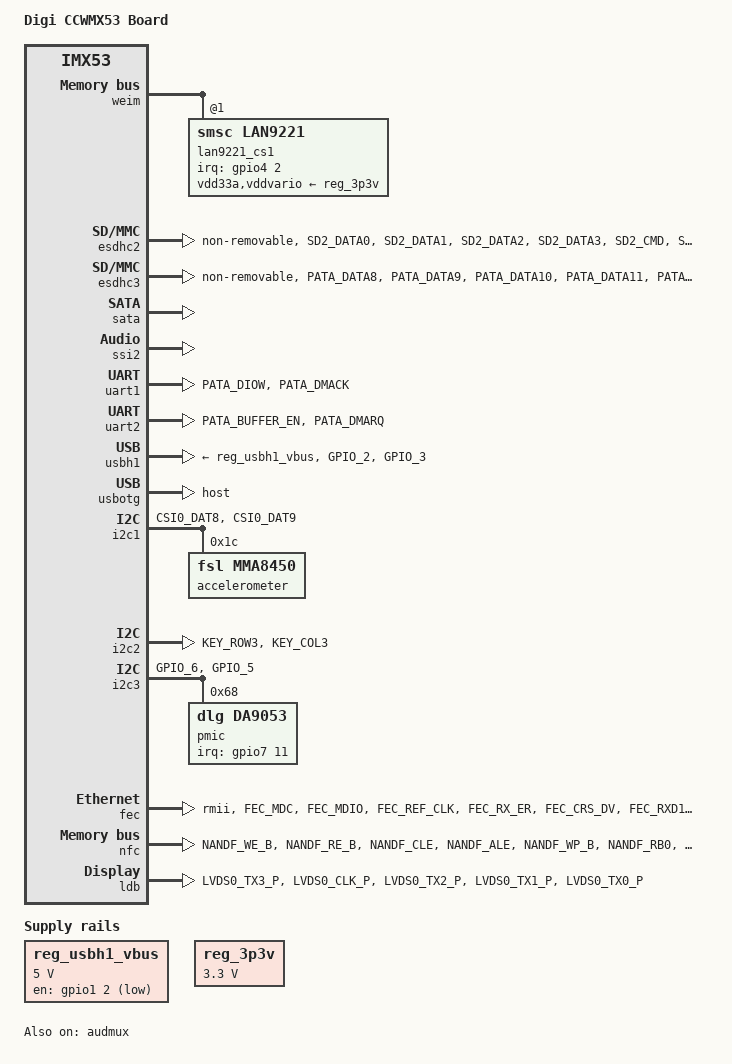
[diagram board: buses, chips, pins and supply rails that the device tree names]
/*
 * Copyright 2011 Freescale Semiconductor, Inc.
 * Copyright 2011 Linaro Ltd.
 *
 * The code contained herein is licensed under the GNU General Public
 * License. You may obtain a copy of the GNU General Public License
 * Version 2 or later at the following locations:
 *
 * http://www.opensource.org/licenses/gpl-license.html
 * http://www.gnu.org/copyleft/gpl.html
 */

/dts-v1/;
#include "imx53.dtsi"

/ {
	model = "Digi CCWMX53 Board";
	compatible = "fsl,imx53-ccxmx53", "fsl,imx53";

	memory {
		reg = <0x0 0x0>;	//reg = <0x70000000 0x40000000>;
	};
	
	regulators {
	compatible = "simple-bus";
	#address-cells = <1>;
	#size-cells = <0>;

		reg_usbh1_vbus: regulator@3 {
			compatible = "regulator-fixed";
			reg = <3>;
			regulator-name = "vbus";
			regulator-min-microvolt = <5000000>;
			regulator-max-microvolt = <5000000>;
			gpio = <&gpio1 2 0>;
		};
		
		reg_3p3v: regulator@0 {
			compatible = "regulator-fixed";
			reg = <0>;
			regulator-name = "3P3V";
			regulator-min-microvolt = <3300000>;
			regulator-max-microvolt = <3300000>;
			regulator-always-on;
		};
	};

};

&weim {
	pinctrl-names = "default";
	#address-cells = <2>;
	#size-cells = <1>;
	ranges = <0 0 0xf2000000 0x04000000>,
			 <1 0 0xf4000000 0x04000000>;
	fsl,weim-cs-gpr = <&gpr>;	
	status = "okay";
	
	lan9221_cs0@0,0 {
		#address-cells = <1>;
		#size-cells = <1>;
		pinctrl-names = "default";
		compatible = "smsc,lan9221", "smsc,lan9115";
		reg = <0 0x00000000 0x02000000>;
		fsl,weim-cs-timing = <
			0x00420081 0x00000000
			0x32260000 0x00000000
			0x72080f00 0x00000000
		>;
		clocks = <&clks IMX5_CLK_DUMMY>;
		interrupt-parent = <&gpio4>;
		interrupts = <2 0x8>;
		phy-mode = "mii";
		reg-io-width = <2>;
		smsc,irq-push-pull;
		vdd33a-supply = <&reg_3p3v>;
		vddvario-supply = <&reg_3p3v>;
		status = "disabled";
	};
	
	lan9221_cs1@0,1 {
		#address-cells = <1>;
		#size-cells = <1>;
		pinctrl-names = "default";
		compatible = "smsc,lan9221", "smsc,lan9115";
		reg = <1 0x00000000 0x02000000>;
		fsl,weim-cs-timing = <
			0x00420081 0x00000000
			0x32260000 0x00000000
			0x72080f00 0x00000000
		>;
		clocks = <&clks IMX5_CLK_DUMMY>;
		interrupt-parent = <&gpio4>;
		interrupts = <2 0x8>;
		phy-mode = "mii";
		reg-io-width = <2>;
		smsc,irq-push-pull;
		vdd33a-supply = <&reg_3p3v>;
		vddvario-supply = <&reg_3p3v>;
	};
};

&esdhc2 {
	pinctrl-names = "default";
	pinctrl-0 = <&pinctrl_esdhc2>;
	non-removable;
	//cd-gpios = <&gpio1 1 GPIO_ACTIVE_LOW>;
	//wp-gpios = <&gpio1 9 GPIO_ACTIVE_HIGH>;
	status = "okay";
};

&esdhc3 {
	pinctrl-names = "default";
	pinctrl-0 = <&pinctrl_esdhc3>;
	non-removable;
	status = "okay";
};

&iomuxc {
	pinctrl-names = "default";
	pinctrl-0 = <&pinctrl_hog>;

	imx53-digi {
		pinctrl_hog: hoggrp {
			fsl,pins = <
				
				//SMSC LAN9220
				MX53_PAD_GPIO_12__GPIO4_2            0x000001d5
				MX53_PAD_EIM_EB3__GPIO2_31			 0x1d5
				MX53_PAD_EIM_D16__EMI_WEIM_D_16      0x000000A4
				MX53_PAD_EIM_D17__EMI_WEIM_D_17      0x000000A4
				MX53_PAD_EIM_D18__EMI_WEIM_D_18      0x000000A4
				MX53_PAD_EIM_D19__EMI_WEIM_D_19      0x000000A4
				MX53_PAD_EIM_D20__EMI_WEIM_D_20      0x000000A4
				MX53_PAD_EIM_D21__EMI_WEIM_D_21      0x000000A4
				MX53_PAD_EIM_D22__EMI_WEIM_D_22      0x000000A4
				MX53_PAD_EIM_D23__EMI_WEIM_D_23      0x000000A4
				MX53_PAD_EIM_D24__EMI_WEIM_D_24      0x000000A4
				MX53_PAD_EIM_D25__EMI_WEIM_D_25      0x000000A4
				MX53_PAD_EIM_D26__EMI_WEIM_D_26      0x000000A4
				MX53_PAD_EIM_D27__EMI_WEIM_D_27      0x000000A4
				MX53_PAD_EIM_D28__EMI_WEIM_D_28      0x000000A4
				MX53_PAD_EIM_D29__EMI_WEIM_D_29      0x000000A4
				MX53_PAD_EIM_D30__EMI_WEIM_D_30      0x000000A4
				MX53_PAD_EIM_D31__EMI_WEIM_D_31      0x000000A4
				MX53_PAD_EIM_DA0__EMI_NAND_WEIM_DA_0 0x000000A4
				MX53_PAD_EIM_DA1__EMI_NAND_WEIM_DA_1 0x000000A4
				MX53_PAD_EIM_DA2__EMI_NAND_WEIM_DA_2 0x000000A4
				MX53_PAD_EIM_DA3__EMI_NAND_WEIM_DA_3 0x000000A4
				MX53_PAD_EIM_DA4__EMI_NAND_WEIM_DA_4 0x000000A4
				MX53_PAD_EIM_DA5__EMI_NAND_WEIM_DA_5 0x000000A4
				MX53_PAD_EIM_DA6__EMI_NAND_WEIM_DA_6 0x000000A4
				MX53_PAD_EIM_OE__EMI_WEIM_OE	     0x000000A4
				MX53_PAD_EIM_RW__EMI_WEIM_RW	     0x000000A4
				MX53_PAD_EIM_CS1__EMI_WEIM_CS_1	     0x000000A4
			>;
		};

		pinctrl_usb: usbgrp {
			fsl,pins = <
				MX53_PAD_GPIO_2__GPIO1_2			0x80000000
				MX53_PAD_GPIO_3__USBOH3_USBH1_OC	0x80000000
			>;
		};
		
		pinctrl_esdhc2: esdhc2grp {
			fsl,pins = <
				MX53_PAD_SD2_DATA0__ESDHC2_DAT0		0x1d5
				MX53_PAD_SD2_DATA1__ESDHC2_DAT1		0x1d5
				MX53_PAD_SD2_DATA2__ESDHC2_DAT2		0x1d5
				MX53_PAD_SD2_DATA3__ESDHC2_DAT3		0x1d5
				MX53_PAD_SD2_CMD__ESDHC2_CMD		0x1d5
				MX53_PAD_SD2_CLK__ESDHC2_CLK		0x1d5
			>;
		};
		
		pinctrl_esdhc3: esdhc3grp {
			fsl,pins = <
				MX53_PAD_PATA_DATA8__ESDHC3_DAT0	0x1d5
				MX53_PAD_PATA_DATA9__ESDHC3_DAT1	0x1d5
				MX53_PAD_PATA_DATA10__ESDHC3_DAT2	0x1d5
				MX53_PAD_PATA_DATA11__ESDHC3_DAT3	0x1d5
				MX53_PAD_PATA_RESET_B__ESDHC3_CMD	0x1d5
				MX53_PAD_PATA_IORDY__ESDHC3_CLK		0x1d5
			>;
		};
		
		pinctrl_uart1: uart1grp {
			fsl,pins = <
				MX53_PAD_PATA_DIOW__UART1_TXD_MUX	0x1e4
				MX53_PAD_PATA_DMACK__UART1_RXD_MUX	0x1e4
			>;
		};
		
		pinctrl_uart2: uart2grp {
			fsl,pins = <
				MX53_PAD_PATA_BUFFER_EN__UART2_RXD_MUX	0x1e4
				MX53_PAD_PATA_DMARQ__UART2_TXD_MUX	0x1e4
			>;
		};
		
		pinctrl_lvds0: lvds0grp {
			fsl,pins = <
				MX53_PAD_LVDS0_TX3_P__LDB_LVDS0_TX3 0x80000000
				MX53_PAD_LVDS0_CLK_P__LDB_LVDS0_CLK 0x80000000
				MX53_PAD_LVDS0_TX2_P__LDB_LVDS0_TX2 0x80000000
				MX53_PAD_LVDS0_TX1_P__LDB_LVDS0_TX1 0x80000000
				MX53_PAD_LVDS0_TX0_P__LDB_LVDS0_TX0 0x80000000
			>;
		};
		
		pinctrl_fec: fecgrp {
			fsl,pins = <
				MX53_PAD_FEC_MDC__FEC_MDC			0x80000000
				MX53_PAD_FEC_MDIO__FEC_MDIO			0x80000000
				MX53_PAD_FEC_REF_CLK__FEC_TX_CLK	0x80000000
				MX53_PAD_FEC_RX_ER__FEC_RX_ER		0x80000000
				MX53_PAD_FEC_CRS_DV__FEC_RX_DV		0x80000000
				MX53_PAD_FEC_RXD1__FEC_RDATA_1		0x80000000
				MX53_PAD_FEC_RXD0__FEC_RDATA_0		0x80000000
				MX53_PAD_FEC_TX_EN__FEC_TX_EN		0x80000000
				MX53_PAD_FEC_TXD1__FEC_TDATA_1		0x80000000
				MX53_PAD_FEC_TXD0__FEC_TDATA_0		0x80000000
			>;
		};

		pinctrl_audmux: audmuxgrp {
			fsl,pins = <
				MX53_PAD_KEY_COL0__AUDMUX_AUD5_TXC	0x80000000
				MX53_PAD_KEY_ROW0__AUDMUX_AUD5_TXD	0x80000000
				MX53_PAD_KEY_COL1__AUDMUX_AUD5_TXFS	0x80000000
				MX53_PAD_KEY_ROW1__AUDMUX_AUD5_RXD	0x80000000
			>;
		};
		
		pinctrl_nand: nandgrp {
			fsl,pins = <
				MX53_PAD_NANDF_WE_B__EMI_NANDF_WE_B	0x4
				MX53_PAD_NANDF_RE_B__EMI_NANDF_RE_B	0x4
				MX53_PAD_NANDF_CLE__EMI_NANDF_CLE	0x4
				MX53_PAD_NANDF_ALE__EMI_NANDF_ALE	0x4
				MX53_PAD_NANDF_WP_B__EMI_NANDF_WP_B	0xe0
				MX53_PAD_NANDF_RB0__EMI_NANDF_RB_0	0xe0
				MX53_PAD_NANDF_CS0__EMI_NANDF_CS_0	0x4
				MX53_PAD_PATA_DATA0__EMI_NANDF_D_0	0xa4
				MX53_PAD_PATA_DATA1__EMI_NANDF_D_1	0xa4
				MX53_PAD_PATA_DATA2__EMI_NANDF_D_2	0xa4
				MX53_PAD_PATA_DATA3__EMI_NANDF_D_3	0xa4
				MX53_PAD_PATA_DATA4__EMI_NANDF_D_4	0xa4
				MX53_PAD_PATA_DATA5__EMI_NANDF_D_5	0xa4
				MX53_PAD_PATA_DATA6__EMI_NANDF_D_6	0xa4
				MX53_PAD_PATA_DATA7__EMI_NANDF_D_7	0xa4
			>;
		};
		
		pinctrl_i2c1: i2c1grp {
			fsl,pins = <
				MX53_PAD_CSI0_DAT8__I2C1_SDA		0xc0000000
				MX53_PAD_CSI0_DAT9__I2C1_SCL		0xc0000000
			>;
		};

		pinctrl_i2c2: i2c2grp {
			fsl,pins = <
				MX53_PAD_KEY_ROW3__I2C2_SDA			0xc0000000
				MX53_PAD_KEY_COL3__I2C2_SCL			0xc0000000
			>;
		};
		
		pinctrl_i2c3: i2c3grp {
			fsl,pins = <
				MX53_PAD_GPIO_6__I2C3_SDA			0xc0000000
				MX53_PAD_GPIO_5__I2C3_SCL			0xc0000000
			>;
		};
		
	};
};

&audmux {
	pinctrl-names = "default";
	pinctrl-0 = <&pinctrl_audmux>;
	status = "okay";
};

&sata {
	status = "okay";
};

&ssi2 {
	status = "okay";
};

&uart1 {
	pinctrl-names = "default";
	pinctrl-0 = <&pinctrl_uart1>;
	status = "okay";
};

&uart2 {
	pinctrl-names = "default";
	pinctrl-0 = <&pinctrl_uart2>;
	status = "okay";
};


&usbh1 {
	pinctrl-names = "default";
	pinctrl-0 = <&pinctrl_usb>;
	vbus-supply = <&reg_usbh1_vbus>;
	phy_type = "utmi";
	status = "okay";
};

&usbotg {
	dr_mode = "host";
	status = "okay";
};

&i2c1 {
	pinctrl-names = "default";
	pinctrl-0 = <&pinctrl_i2c1>;
	status = "okay";

	accelerometer: mma8450@1c {
		compatible = "fsl,mma8450";
		reg = <0x1c>;
	};
};

&i2c2 {
	pinctrl-names = "default";
	pinctrl-0 = <&pinctrl_i2c2>;
	status = "okay";
};

&i2c3 {
	pinctrl-names = "default";
	pinctrl-0 = <&pinctrl_i2c3>;
	status = "okay";

	pmic: dialog@68 {
		compatible = "dlg,da9053", "dlg,da9052";
		reg = <0x68>;
		interrupt-parent = <&gpio7>;
		interrupts = <11 0x8>; /* low-level active IRQ at GPIO7_11 */
	};
	
	codec: sgtl5000@0a {
		compatible = "fsl,sgtl5000";
		reg = <0x0a>;
		status = "disabled";
	};
};

&fec {
	pinctrl-names = "default";
	pinctrl-0 = <&pinctrl_fec>;
	phy-mode = "rmii";
	phy-reset-gpios = <&gpio7 6 0>;
	status = "okay";
};

&nfc {
	pinctrl-names = "default";
	pinctrl-0 = <&pinctrl_nand>;
	nand-bus-width = <8>;
	nand-ecc-mode = "hw";
	status = "okay";
};

&ldb {
	pinctrl-names = "default";
	pinctrl-0 = <&pinctrl_lvds0>;
	status = "okay";

	lvds0: lvds-channel@0 {
		fsl,data-mapping = "jeida";
		fsl,data-width = <24>;
		status = "okay";

		display-timings {
			native-mode = <&lvds_timing0>;
			lvds_timing0: hsd100pxn1 {
				clock-frequency = <65000000>;
				hactive = <1024>;
				vactive = <768>;
				hback-porch = <220>;
				hsync-len = <60>;
				hfront-porch = <40>;
				vback-porch = <21>;
				vsync-len = <10>;
				vfront-porch = <7>;
				hsync-active = <0>;
				vsync-active = <0>;
				de-active = <1>;
				pixelclk-active = <0>;
			};
		};
	};
};
